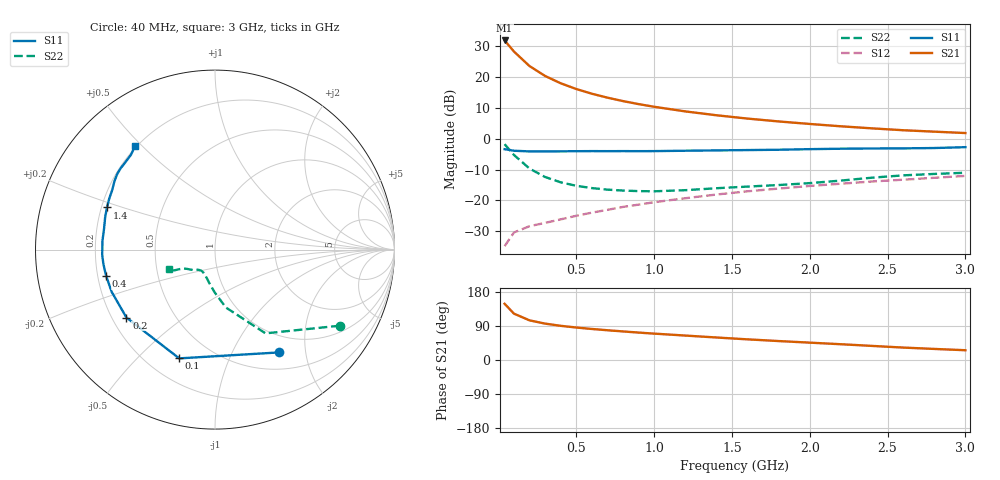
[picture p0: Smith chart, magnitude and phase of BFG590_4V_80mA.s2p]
! Filename:  BFG590H.S2P  Version:  4.0
! Philips part #: BFG590  Date: Jun 1994
! Bias condition: Vce=4V; Ic=80mA
#  MHz  S  MA  R  50
! Freq  S11  S21  S12  S22  !GUM [dB]
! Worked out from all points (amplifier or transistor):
!   21 points, 40 MHz to 3 GHz, reference 50 ohm
!   highest |S21| = 31.9 dB at 40 MHz (marker M1)
!   |S21| within 3 dB of that: start of sweep to 90.03 MHz
!   unconditionally stable (mu >= 1): 611.4 MHz to 2.652 GHz
!   at 300 MHz: K = 0.74, MSG = 23.9 dB, |S12| = -27.3 dB
!   at 1 GHz: K = 1.11, MAG = 13.5 dB, |S12| = -20.6 dB
!   at 3 GHz: K = 0.92, MSG = 7.0 dB, |S12| = -12.1 dB
!   S11 on the Smith chart (normalised r, x): 40 MHz: 0.74, -1.55; 100 MHz: 0.33, -0.67; 200 MHz: 0.26, -0.32; 400 MHz: 0.23, -0.11; 1.4 GHz: 0.22, +0.18; 3 GHz: 0.19, +0.48
40  0.676 -57.9  39.39 148.4  0.018 65.4  0.814 -31.4
100  0.638 -108.2  26.03 122.3  0.03 48.1  0.545 -58.9
200  0.622 -142.5  15.12 104.6  0.038 43.7  0.328 -79.4
300  0.622 -157.8  10.44 96.0  0.043 46.6  0.239 -90.3
400  0.624 -166.5  7.95 90.2  0.049 50.7  0.196 -98.2
500  0.627 -172.6  6.418 85.7  0.056 53.3  0.172 -104.0
600  0.629 -177.1  5.379 81.9  0.063 55.7  0.158 -108.8
700  0.628 179.0  4.642 78.5  0.07 57.6  0.149 -112.8
800  0.629 175.5  4.086 75.4  0.078 59.2  0.144 -116.3
900  0.628 172.3  3.65 72.4  0.085 60.3  0.141 -120.0
1000  0.629 169.3  3.303 69.6  0.093 61.1  0.14 -123.6
1200  0.638 163.6  2.777 64.5  0.108 61.9  0.146 -129.8
1400  0.646 158.7  2.404 59.4  0.124 62.1  0.157 -134.0
1600  0.654 154.3  2.123 54.5  0.14 61.6  0.167 -137.3
1800  0.662 149.9  1.908 50.0  0.155 61.3  0.177 -141.1
2000  0.677 145.9  1.736 45.8  0.171 60.5  0.19 -145.7
2200  0.688 142.5  1.591 41.6  0.186 59.7  0.209 -149.7
2400  0.694 139.4  1.473 37.2  0.202 58.2  0.233 -151.7
2600  0.697 135.8  1.373 32.8  0.216 56.2  0.254 -152.9
2800  0.706 131.5  1.302 29.2  0.232 54.8  0.268 -154.4
3000  0.729 127.7  1.236 25.8  0.249 53.2  0.28 -157.6
